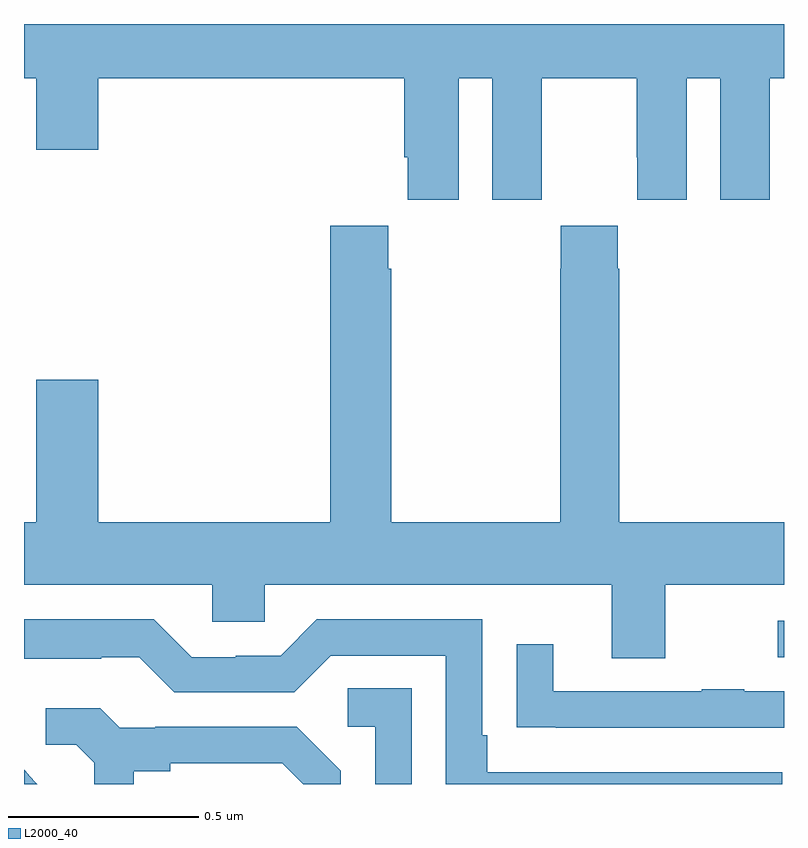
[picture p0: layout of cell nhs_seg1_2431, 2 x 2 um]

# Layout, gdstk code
import gdstk
lib = gdstk.Library(unit=1e-6, precision=1e-09)
def R(c, l, rs):  # rectangles x0, y0, x1, y1
    for r in rs: c.add(gdstk.rectangle(r[:2], r[2:], *l))
def P(c, l, *ps):  # polygons
    for p in ps: c.add(gdstk.Polygon(p, *l))
L2000_40 = (2000, 40)

nhs_seg1_2431 = lib.new_cell('nhs_seg1_2431')
R(nhs_seg1_2431, L2000_40, [(142.983,559.533,143,559.629)])
P(nhs_seg1_2431, L2000_40, [(141,561.056),(141.032,561.056),(141.032,560.868),(141.196,560.868),(141.196,561.056),(142.001,561.056),(142.001,560.848),(142.01,560.848),(142.01,560.736),(142.144,560.736),(142.144,561.056),(142.232,561.056),(142.232,560.736),(142.362,560.736),(142.362,560.848),(142.363,560.848),(142.363,561.056),(142.613,561.056),(142.613,560.848),(142.614,560.848),(142.614,560.736),(142.744,560.736),(142.744,561.056),(142.832,561.056),(142.832,560.736),(142.962,560.736),(142.962,560.848),(142.963,560.848),(142.963,561.056),(143,561.056),(143,561.199),(141,561.199)],
  [(142.566,560.555),(142.563,560.555),(142.563,560.668),(142.413,560.668),(142.413,560.555),(142.411,560.555),(142.411,559.888),(141.966,559.888),(141.966,560.555),(141.959,560.555),(141.959,560.668),(141.806,560.668),(141.806,559.888),(141.196,559.888),(141.196,560.263),(141.032,560.263),(141.032,559.888),(141,559.888),(141,559.724),(141.495,559.724),(141.495,559.626),(141.633,559.626),(141.633,559.724),(142.547,559.724),(142.547,559.53),(142.687,559.53),(142.687,559.724),(143,559.724),(143,559.888),(142.566,559.888)],
  [(142.996,559.23),(142.219,559.23),(142.219,559.327),(142.206,559.327),(142.206,559.632),(141.771,559.632),(141.675,559.536),(141.557,559.536),(141.557,559.533),(141.441,559.533),(141.341,559.633),(141,559.633),(141,559.529),(141.203,559.529),(141.203,559.533),(141.303,559.533),(141.396,559.44),(141.711,559.44),(141.807,559.536),(142.11,559.536),(142.11,559.199),(142.996,559.199)],
  [(143,559.443),(142.895,559.443),(142.895,559.448),(142.783,559.448),(142.783,559.443),(142.393,559.443),(142.393,559.567),(142.297,559.567),(142.297,559.348),(142.399,559.348),(142.399,559.347),(143,559.347)],
  [(142.02,559.451),(141.852,559.451),(141.852,559.35),(141.924,559.35),(141.924,559.199),(142.02,559.199)],
  [(141.289,559.232),(141.385,559.232),(141.385,559.254),(141.68,559.254),(141.735,559.199),(141.834,559.199),(141.834,559.234),(141.718,559.35),(141.346,559.35),(141.346,559.347),(141.252,559.347),(141.2,559.399),(141.057,559.399),(141.057,559.302),(141.138,559.302),(141.185,559.255),(141.185,559.199),(141.289,559.199)],
  [(141.011,559.223),(141.012,559.224),(141,559.236),(141,559.199),(141.035,559.199)])

lib.write_gds('nhs_seg1_2431.gds')
